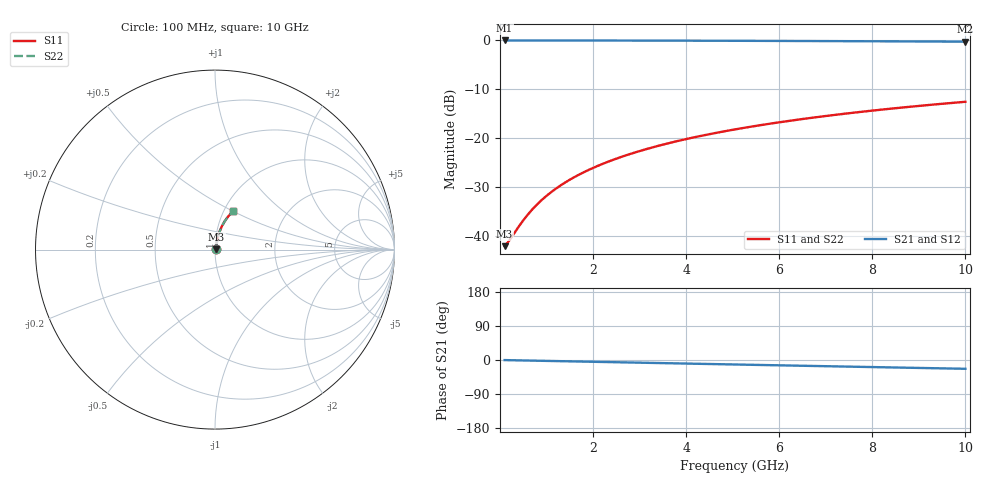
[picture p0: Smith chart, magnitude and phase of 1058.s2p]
# Hz S RI R 50.00
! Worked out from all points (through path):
!   100 points, 100 MHz to 10 GHz, reference 50 ohm
!   highest |S21| = -0.07 dB at 100 MHz (marker M1); lowest = -0.3 dB at 10 GHz (marker M2)
!   group delay of S21, straight-line fit = 6.45 ps
!   lowest |S11| = -42.1 dB at 100 MHz (marker M3), VSWR 1.02, Z = 50.8 + j0.245 ohm
!   |S11| at or under -10 dB: start of sweep to end of sweep
!   |S22| runs from -42.1 to -12.6 dB; largest |S21 - S12| = 0
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1e8  0.00747 0.00242  0.9925 -0.00408  0.9925 -0.00408  0.00747 0.00242
2e8  0.00755 0.00483  0.9924 -0.00816  0.9924 -0.00816  0.00755 0.00483
4e8  0.00773 0.00967  0.9922 -0.0163  0.9922 -0.0163  0.00773 0.00967
5e8  0.00785 0.0121  0.9921 -0.0204  0.9921 -0.0204  0.00785 0.0121
6e8  0.00798 0.0145  0.992 -0.0245  0.992 -0.0245  0.00798 0.0145
7e8  0.00813 0.0169  0.9918 -0.0285  0.9918 -0.0285  0.00813 0.0169
9e8  0.00848 0.0217  0.9914 -0.0367  0.9914 -0.0367  0.00848 0.0217
1.1e9  0.00891 0.0265  0.9909 -0.0448  0.9909 -0.0448  0.00891 0.0265
1.3e9  0.00941 0.0313  0.9903 -0.0529  0.9903 -0.0529  0.00941 0.0313
1.5e9  0.00999 0.0361  0.9897 -0.0611  0.9897 -0.0611  0.00999 0.0361
1.8e9  0.011 0.0433  0.9885 -0.0732  0.9885 -0.0732  0.011 0.0433
2.1e9  0.0122 0.0504  0.9872 -0.0854  0.9872 -0.0854  0.0122 0.0504
2.5e9  0.014 0.0599  0.9851 -0.1015  0.9851 -0.1015  0.014 0.0599
2.9e9  0.0162 0.0693  0.9826 -0.1175  0.9826 -0.1175  0.0162 0.0693
3.4e9  0.0193 0.0809  0.979 -0.1375  0.979 -0.1375  0.0193 0.0809
4.2e9  0.0252 0.0991  0.9722 -0.169  0.9722 -0.169  0.0252 0.0991
5.1e9  0.0333 0.1191  0.963 -0.204  0.963 -0.204  0.0333 0.1191
5.9e9  0.0416 0.1362  0.9534 -0.2345  0.9534 -0.2345  0.0416 0.1362
6.7e9  0.051 0.1526  0.9426 -0.2644  0.9426 -0.2644  0.051 0.1526
7.5e9  0.0614 0.1684  0.9306 -0.2935  0.9306 -0.2935  0.0614 0.1684
8.4e9  0.0742 0.1852  0.9158 -0.3254  0.9158 -0.3254  0.0742 0.1852
1e10  0.0995 0.2123  0.8862 -0.3796  0.8862 -0.3796  0.0995 0.2123
